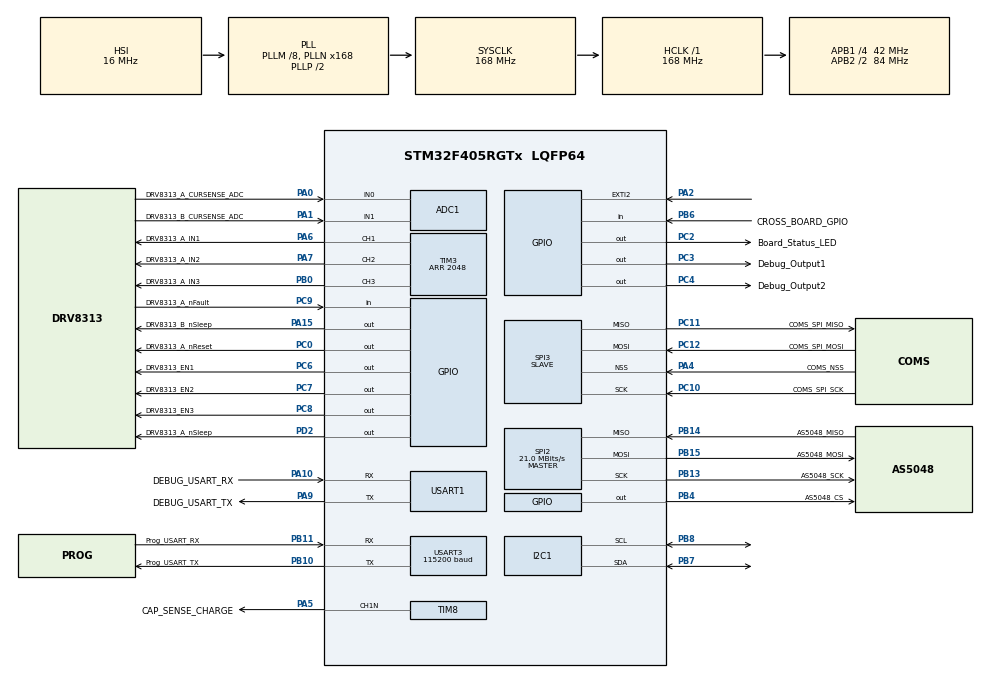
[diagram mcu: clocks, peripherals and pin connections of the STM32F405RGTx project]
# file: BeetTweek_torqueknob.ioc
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ADC1.Channel-1\#ChannelRegularConversion=ADC_CHANNEL_0
ADC1.NbrOfConversionFlag=1
ADC1.Rank-1\#ChannelRegularConversion=1
ADC1.SamplingTime-1\#ChannelRegularConversion=ADC_SAMPLETIME_3CYCLES
ADC1.master=1
I2C1.I2C_Mode=I2C_Standard
Mcu.Family=STM32F4
Mcu.Name=STM32F405RGTx
Mcu.Package=LQFP64
NVIC.EXTI2_IRQn=true\:4\:0\:true\:false\:true\:true\:true\:true
NVIC.PriorityGroup=NVIC_PRIORITYGROUP_3
NVIC.SPI3_IRQn=true\:3\:0\:true\:false\:true\:true\:true\:true
NVIC.TIM2_IRQn=true\:4\:0\:true\:false\:true\:true\:true\:true
NVIC.TIM5_IRQn=true\:4\:0\:true\:false\:true\:true\:true\:true
NVIC.USART3_IRQn=true\:4\:0\:true\:false\:true\:true\:true\:true
PA0-WKUP.GPIO_Label=DRV8313_A_CURSENSE_ADC
PA0-WKUP.Signal=ADCx_IN0
PA1.GPIO_Label=DRV8313_B_CURSENSE_ADC
PA1.Signal=ADCx_IN1
PA10.GPIO_Label=DEBUG_USART_RX
PA10.Mode=Asynchronous
PA10.Signal=USART1_RX
PA13.Mode=Trace_Asynchronous_SW
PA13.Signal=SYS_JTMS-SWDIO
PA14.Mode=Trace_Asynchronous_SW
PA14.Signal=SYS_JTCK-SWCLK
PA15.GPIO_Label=DRV8313_B_nSleep
PA15.PinState=GPIO_PIN_SET
PA15.Signal=GPIO_Output
PA2.Signal=GPXTI2
PA4.GPIO_Label=COMS_NSS
PA4.Mode=NSS_Signal_Hard_Input
PA4.Signal=SPI3_NSS
PA5.GPIO_Label=CAP_SENSE_CHARGE
PA5.GPIO_PuPd=GPIO_NOPULL
PA5.GPIO_Speed=GPIO_SPEED_FREQ_MEDIUM
PA5.Mode=PWM Generation1 CH1N
PA5.Signal=TIM8_CH1N
PA6.GPIO_Label=DRV8313_A_IN1
PA6.GPIO_Speed=GPIO_SPEED_FREQ_VERY_HIGH
PA6.Signal=S_TIM3_CH1
PA7.GPIO_Label=DRV8313_A_IN2
PA7.GPIO_Speed=GPIO_SPEED_FREQ_VERY_HIGH
PA7.Signal=S_TIM3_CH2
PA9.GPIO_Label=DEBUG_USART_TX
PA9.Mode=Asynchronous
PA9.Signal=USART1_TX
PB0.GPIO_Label=DRV8313_A_IN3
PB0.GPIO_Speed=GPIO_SPEED_FREQ_VERY_HIGH
PB0.Signal=S_TIM3_CH3
PB10.GPIO_Label=Prog_USART_TX
PB10.Mode=Asynchronous
PB10.Signal=USART3_TX
PB11.GPIO_Label=Prog_USART_RX
PB11.Mode=Asynchronous
PB11.Signal=USART3_RX
PB13.GPIO_Label=AS5048_SCK
PB13.Mode=Full_Duplex_Master
PB13.Signal=SPI2_SCK
PB14.GPIO_Label=AS5048_MISO
PB14.Mode=Full_Duplex_Master
PB14.Signal=SPI2_MISO
PB15.GPIO_Label=AS5048_MOSI
PB15.Mode=Full_Duplex_Master
PB15.Signal=SPI2_MOSI
PB3.Mode=Trace_Asynchronous_SW
PB3.Signal=SYS_JTDO-SWO
PB4.GPIO_Label=AS5048_CS
PB4.Signal=GPIO_Output
PB6.GPIO_Label=CROSS_BOARD_GPIO
PB6.Signal=GPIO_Input
PB7.GPIO_Pu=GPIO_PULLUP
PB7.Mode=I2C
PB7.Signal=I2C1_SDA
PB8.GPIO_Pu=GPIO_PULLUP
PB8.Mode=I2C
PB8.Signal=I2C1_SCL
PC0.GPIO_Label=DRV8313_A_nReset
PC0.Signal=GPIO_Output
PC10.GPIO_Label=COMS_SPI_SCK
PC10.Mode=Full_Duplex_Slave
PC10.Signal=SPI3_SCK
PC11.GPIO_Label=COMS_SPI_MISO
PC11.Mode=Full_Duplex_Slave
PC11.Signal=SPI3_MISO
PC12.GPIO_Label=COMS_SPI_MOSI
PC12.Mode=Full_Duplex_Slave
PC12.Signal=SPI3_MOSI
PC2.GPIO_Label=Board_Status_LED
PC2.Signal=GPIO_Output
PC3.GPIO_Label=Debug_Output1
PC3.Signal=GPIO_Output
PC4.GPIO_Label=Debug_Output2
PC4.Signal=GPIO_Output
PC6.GPIO_Label=DRV8313_EN1
PC6.Signal=GPIO_Output
PC7.GPIO_Label=DRV8313_EN2
PC7.Signal=GPIO_Output
PC8.GPIO_Label=DRV8313_EN3
PC8.Signal=GPIO_Output
PC9.GPIO_Label=DRV8313_A_nFault
PC9.Signal=GPIO_Input
PD2.GPIO_Label=DRV8313_A_nSleep
PD2.PinState=GPIO_PIN_SET
PD2.Signal=GPIO_Output
PH0-OSC_IN.Signal=RCC_OSC_IN
PH1-OSC_OUT.Signal=RCC_OSC_OUT
ProjectManager.HeapSize=0x200
ProjectManager.StackSize=0x400
ProjectManager.TargetToolchain=STM32CubeIDE
RCC.48MHZClocksFreq_Value=112000000
RCC.AHBFreq_Value=168000000
RCC.APB1CLKDivider=RCC_HCLK_DIV4
RCC.APB1Freq_Value=42000000
RCC.APB1TimFreq_Value=84000000
RCC.APB2CLKDivider=RCC_HCLK_DIV2
RCC.APB2Freq_Value=84000000
RCC.APB2TimFreq_Value=168000000
RCC.CortexFreq_Value=168000000
RCC.HCLKFreq_Value=168000000
RCC.HSE_VALUE=8000000
RCC.HSI_VALUE=16000000
RCC.LSE_VALUE=32768
RCC.PLLM=8
RCC.PLLN=168
RCC.PLLQ=3
RCC.SYSCLKFreq_VALUE=168000000
RCC.SYSCLKSource=RCC_SYSCLKSOURCE_PLLCLK
RCC.VCOOutputFreq_Value=336000000
SH.ADCx_IN0.0=ADC1_IN0,IN0
SH.ADCx_IN1.0=ADC1_IN1,IN1
SH.S_TIM3_CH1.0=TIM3_CH1,PWM Generation1 CH1
SH.S_TIM3_CH2.0=TIM3_CH2,PWM Generation2 CH2
SH.S_TIM3_CH3.0=TIM3_CH3,PWM Generation3 CH3
SPI2.CLKPhase=SPI_PHASE_2EDGE
SPI2.CalculateBaudRate=21.0 MBits/s
SPI2.DataSize=SPI_DATASIZE_16BIT
SPI2.Direction=SPI_DIRECTION_2LINES
SPI2.Mode=SPI_MODE_MASTER
SPI2.VirtualType=VM_MASTER
SPI3.CLKPolarity=SPI_POLARITY_LOW
SPI3.DataSize=SPI_DATASIZE_16BIT
SPI3.Direction=SPI_DIRECTION_2LINES
SPI3.Mode=SPI_MODE_SLAVE
SPI3.VirtualNSS=VM_NSSHARD
SPI3.VirtualType=VM_SLAVE
TIM2.Period=1600
TIM2.Prescaler=8
TIM3.AutoReloadPreload=TIM_AUTORELOAD_PRELOAD_DISABLE
TIM3.Channel-PWM\ Generation1\ CH1=TIM_CHANNEL_1
TIM3.Channel-PWM\ Generation2\ CH2=TIM_CHANNEL_2
TIM3.Channel-PWM\ Generation3\ CH3=TIM_CHANNEL_3
TIM3.ClockDivision=TIM_CLOCKDIVISION_DIV1
TIM3.CounterMode=TIM_COUNTERMODE_CENTERALIGNED1
TIM3.OCMode_PWM-PWM\ Generation1\ CH1=TIM_OCMODE_PWM1
TIM3.OCMode_PWM-PWM\ Generation2\ CH2=TIM_OCMODE_PWM1
TIM3.OCMode_PWM-PWM\ Generation3\ CH3=TIM_OCMODE_PWM1
TIM3.Period=2048
TIM3.Pulse-PWM\ Generation1\ CH1=1024
TIM3.Pulse-PWM\ Generation2\ CH2=1024
TIM3.Pulse-PWM\ Generation3\ CH3=1024
TIM5.Period=1024
TIM5.Prescaler=256
TIM8.Channel-PWM\ Generation1\ CH1N=TIM_CHANNEL_1
TIM8.OCNIdleState_1=TIM_OCNIDLESTATE_RESET
TIM8.OCNPolarity_1=TIM_OCNPOLARITY_HIGH
TIM8.Period=1024
TIM8.Prescaler=256
TIM8.Pulse-PWM\ Generation1\ CH1N=512
USART1.VirtualMode=VM_ASYNC
USART3.BaudRate=115200
USART3.VirtualMode=VM_ASYNC
VP_TIM2_VS_ClockSourceINT.Mode=Internal
VP_TIM3_VS_ClockSourceINT.Mode=Internal
VP_TIM4_VS_ClockSourceINT.Mode=Internal
VP_TIM5_VS_ClockSourceINT.Mode=Internal
VP_TIM8_VS_ClockSourceINT.Mode=Internal
board=custom

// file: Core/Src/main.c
/* USER CODE BEGIN Header */
/**
  ******************************************************************************
  * @file           : main.c
  * @brief          : Main program body
  ******************************************************************************
  * @attention
  *
  * <h2><center>&copy; Copyright (c) 2020 STMicroelectronics.
  * All rights reserved.</center></h2>
  *
  * This software component is licensed by ST under BSD 3-Clause license,
  * the "License"; You may not use this file except in compliance with the
  * License. You may obtain a copy of the License at:
  *                        opensource.org/licenses/BSD-3-Clause
  *
  ******************************************************************************
  */
/* USER CODE END Header */
#include "main.h"
#include "adc.h"
#include "i2c.h"
#include "spi.h"
#include "tim.h"
#include "usart.h"
#include "gpio.h"

/* USER CODE BEGIN Includes */
#include "overrides.h"
#include "stdio.h"
#include "Program.h"
/* USER CODE END Includes */

/* USER CODE BEGIN PV */
FLASH_OBProgramInitTypeDef OBInit;
char errorCode[256] = "NOT CALLED FROM USERCODE";
const char __attribute__((section (".versionIdentifier"))) BoardVersionIdentifier[32] = "BEETTWEEKMOTORF4";

/* USER CODE END PV */

void SystemClock_Config(void);
/* USER CODE BEGIN PFP */
void ErrorLoop()
{

}
/* USER CODE END PFP */

int main(void)
{

  /* MCU Configuration--------------------------------------------------------*/

  /* Reset of all peripherals, Initializes the Flash interface and the Systick. */
  HAL_Init();

  /* USER CODE BEGIN Init */
  UserCodeInit1();
  /* USER CODE END Init */

  /* Configure the system clock */
  SystemClock_Config();

  /* USER CODE BEGIN SysInit */
  DBGMCU->APB1FZ |= DBGMCU_APB1_FZ_DBG_TIM6_STOP; //enable timer stops on debug.
  DBGMCU->APB1FZ |= DBGMCU_APB1_FZ_DBG_TIM2_STOP;
  //DBGMCU->APB1FZ |= DBGMCU_APB1_FZ_DBG_TIM3_STOP;
  //DBGMCU->APB1FZ |= DBGMCU_APB1_FZ_DBG_TIM4_STOP;
  DBGMCU->APB1FZ |= DBGMCU_APB1_FZ_DBG_TIM5_STOP;

  HAL_DBGMCU_EnableDBGStandbyMode();
  HAL_DBGMCU_EnableDBGStopMode();

  /* USER CODE END SysInit */

  /* Initialize all configured peripherals */
  MX_GPIO_Init();
  MX_SPI2_Init();
  MX_TIM3_Init();
  MX_SPI3_Init();
  MX_TIM4_Init();
  MX_TIM5_Init();
  MX_TIM8_Init();
  MX_USART3_UART_Init();
  MX_TIM2_Init();
  MX_ADC1_Init();
  MX_USART1_UART_Init();
  MX_I2C1_Init();
  /* USER CODE BEGIN 2 */

  __HAL_RCC_I2C1_FORCE_RESET();
  HAL_Delay(200);
  __HAL_RCC_I2C1_RELEASE_RESET();
  UserCodeInit2();

  /* USER CODE END 2 */

  /* Infinite loop */
  /* USER CODE BEGIN WHILE */
  while (1)
  {

	  ProgramMainLoopUpdate();
    /* USER CODE END WHILE */

  }
}

void SystemClock_Config(void)
{
  RCC_OscInitTypeDef RCC_OscInitStruct = {0};
  RCC_ClkInitTypeDef RCC_ClkInitStruct = {0};

  /** Configure the main internal regulator output voltage
  */
  __HAL_RCC_PWR_CLK_ENABLE();
  __HAL_PWR_VOLTAGESCALING_CONFIG(PWR_REGULATOR_VOLTAGE_SCALE1);
  /** Initializes the RCC Oscillators according to the specified parameters
  * in the RCC_OscInitTypeDef structure.
  */
  RCC_OscInitStruct.OscillatorType = RCC_OSCILLATORTYPE_HSI;
  RCC_OscInitStruct.HSIState = RCC_HSI_ON;
  RCC_OscInitStruct.HSICalibrationValue = RCC_HSICALIBRATION_DEFAULT;
  RCC_OscInitStruct.PLL.PLLState = RCC_PLL_ON;
  RCC_OscInitStruct.PLL.PLLSource = RCC_PLLSOURCE_HSI;
  RCC_OscInitStruct.PLL.PLLM = 8;
  RCC_OscInitStruct.PLL.PLLN = 168;
  RCC_OscInitStruct.PLL.PLLP = RCC_PLLP_DIV2;
  RCC_OscInitStruct.PLL.PLLQ = 3;
  if (HAL_RCC_OscConfig(&RCC_OscInitStruct) != HAL_OK)
  {
    Error_Handler();
  }
  /** Initializes the CPU, AHB and APB buses clocks
  */
  RCC_ClkInitStruct.ClockType = RCC_CLOCKTYPE_HCLK|RCC_CLOCKTYPE_SYSCLK
                              |RCC_CLOCKTYPE_PCLK1|RCC_CLOCKTYPE_PCLK2;
  RCC_ClkInitStruct.SYSCLKSource = RCC_SYSCLKSOURCE_PLLCLK;
  RCC_ClkInitStruct.AHBCLKDivider = RCC_SYSCLK_DIV1;
  RCC_ClkInitStruct.APB1CLKDivider = RCC_HCLK_DIV4;
  RCC_ClkInitStruct.APB2CLKDivider = RCC_HCLK_DIV2;

  if (HAL_RCC_ClockConfig(&RCC_ClkInitStruct, FLASH_LATENCY_5) != HAL_OK)
  {
    Error_Handler();
  }
}

void Error_Handler(void)
{
  /* USER CODE BEGIN Error_Handler_Debug */
	while(1){
		printf("HAL Error Hander: ");
		printf(errorCode);
		printf("\r\n");
		HAL_GPIO_TogglePin(Board_Status_LED_GPIO_Port, Board_Status_LED_Pin);

		ErrorLoop();

		//generate an assert that will stop the debugger if connected...
		//look at the stack...
		volatile int i = 1/0;

		HAL_Delay(50);
	}
  /* USER CODE END Error_Handler_Debug */
}
